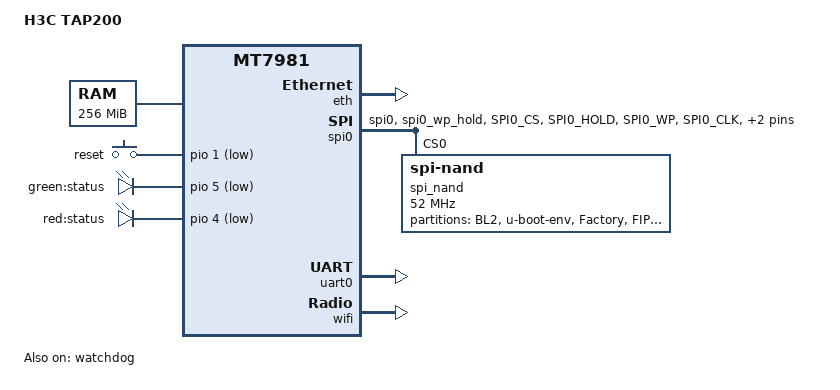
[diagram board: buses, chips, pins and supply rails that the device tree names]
// SPDX-License-Identifier: GPL-2.0-or-later OR MIT

/dts-v1/;
#include <dt-bindings/gpio/gpio.h>
#include <dt-bindings/input/input.h>
#include <dt-bindings/leds/common.h>

#include "mt7981.dtsi"

/ {
	model = "H3C TAP200";
	compatible = "h3c,tap200", "mediatek,mt7981";

	aliases {
		serial0 = &uart0;
		led-boot = &led_green;
		led-failsafe = &led_red;
		led-running = &led_green;
		led-upgrade = &led_red;
	};

	chosen: chosen {
		stdout-path = "serial0:115200n8";
	};

	memory {
		reg = <0 0x40000000 0 0x10000000>;
	};

	gpio-keys {
		compatible = "gpio-keys";

		reset {
			label = "reset";
			linux,code = <KEY_RESTART>;
			gpios = <&pio 1 GPIO_ACTIVE_LOW>;
		};
	};

	leds {
		compatible = "gpio-leds";

		led_green: green {
			label = "green:status";
			gpios = <&pio 5 GPIO_ACTIVE_LOW>;
		};

		led_red: red {
			label = "red:status";
			gpios = <&pio 4 GPIO_ACTIVE_LOW>;
		};
	};
};

/*
 * 以太网：
 *   gmac0（前网口）= SGMII 接外挂 RTL8211FS@2 —— 本次不需要，禁用
 *   gmac1（后网口）= GMII 接内置 GPHY —— 本次要通
 * int_gbe_phy 是 mt7981.dtsi 预定义的内置 1000Base-T PHY 引用。
 */
&eth {
	status = "okay";

	gmac0: mac@0 {
		compatible = "mediatek,eth-mac";
		reg = <0>;
		phy-mode = "sgmii";
		status = "disabled";
	};

	gmac1: mac@1 {
		compatible = "mediatek,eth-mac";
		reg = <1>;
		phy-mode = "gmii";
		phy-handle = <&int_gbe_phy>;
	};
};

&spi0 {
	pinctrl-names = "default";
	pinctrl-0 = <&spi0_flash_pins>;
	status = "okay";

	spi_nand: spi_nand@0 {
		compatible = "spi-nand";
		#address-cells = <1>;
		#size-cells = <1>;
		reg = <0>;

		spi-max-frequency = <52000000>;
		spi-tx-bus-width = <4>;
		spi-rx-bus-width = <4>;

		partitions {
			compatible = "fixed-partitions";
			#address-cells = <1>;
			#size-cells = <1>;

			partition@0 {
				label = "BL2";
				reg = <0x0000000 0x0100000>;
				read-only;
			};

			partition@100000 {
				label = "u-boot-env";
				reg = <0x0100000 0x0080000>;
			};

			factory: partition@180000 {
				label = "Factory";
				reg = <0x0180000 0x0200000>;
				/* 不设 read-only，便于写 MAC */
			};

			partition@380000 {
				label = "FIP";
				reg = <0x0380000 0x01c0000>;
				read-only;
			};

			partition@540000 {
				label = "opt";
				reg = <0x0540000 0x0040000>;
			};

			ubi: partition@580000 {
				label = "ubi";
				reg = <0x0580000 0x4000000>;
				compatible = "linux,ubi";
			};
		};
	};
};

&pio {
	spi0_flash_pins: spi0-pins {
		mux {
			function = "spi";
			groups = "spi0", "spi0_wp_hold";
		};

		conf-pu {
			pins = "SPI0_CS", "SPI0_HOLD", "SPI0_WP";
			drive-strength = <8>;
			mediatek,pull-up-adv = <0>; /* bias-disable */
		};

		conf-pd {
			pins = "SPI0_CLK", "SPI0_MOSI", "SPI0_MISO";
			drive-strength = <8>;
			mediatek,pull-up-adv = <0>; /* bias-disable */
		};
	};
};

&uart0 {
	status = "okay";
};

&watchdog {
	status = "okay";
};

&wifi {
	status = "okay";
	mediatek,mtd-eeprom = <&factory 0x0>;
};
